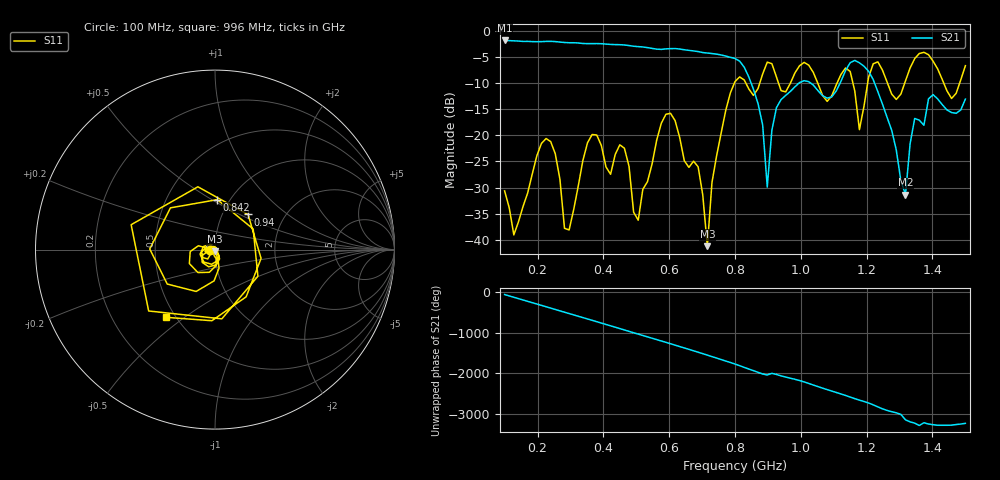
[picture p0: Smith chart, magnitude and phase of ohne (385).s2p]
! NanoVNA-App
! Date: 2025-09-25 14:23:47
! Start: 100MHz Stop: 1,5GHz Points: 101
! S-Parameter data: F S11 S21 S12 S22
# Hz S RI R 50
!  Frequency  S11_Real  S11_Imag  S21_Real  S21_Imag  S12_Real  S12_Imag  S22_Real  S22_Imag
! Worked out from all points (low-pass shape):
!   101 points, 100 MHz to 1.5 GHz, reference 50 ohm
!   highest |S21| = -1.79 dB at 100 MHz (marker M1); lowest = -31.4 dB at 1.318 GHz (marker M2)
!   |S21| within 3 dB of the highest: start of sweep to 771.8 MHz
!   lowest |S11| = -41.2 dB at 716 MHz (marker M3), VSWR 1.02, Z = 49.8 - j0.84 ohm
!   |S11| at or under -10 dB: start of sweep to 797.9 MHz; 833.1 MHz to 875.1 MHz (41.96 MHz wide, 4.91 % of centre); 1.052 GHz to 1.11 GHz (58.24 MHz wide, 5.39 % of centre) (the widest 3 of 7)
!   S12 and S22 are empty: the file has one direction only
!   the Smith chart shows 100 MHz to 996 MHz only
!   S11 on the Smith chart (normalised r, x): 100 MHz: 0.94, -0.01; 842 MHz: 0.88, +0.53; 940 MHz: 1.32, +0.56; 996 MHz: 0.45, -0.43
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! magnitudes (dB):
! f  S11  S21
! 100 MHz  -30.6  -1.8
! 128 MHz  -39.1  -1.9
! 226 MHz  -20.6  -2.0
! 296 MHz  -38.1  -2.2
! 338 MHz  -24.8  -2.4
! 464 MHz  -22.5  -2.7
! 506 MHz  -36.3  -3.0
! 576 MHz  -17.7  -3.5
! 688 MHz  -26.0  -3.9
! 716 MHz  -41.2  -4.2
! 800 MHz  -9.7  -5.2
! 842 MHz  -11.1  -8.8
! 898 MHz  -6.0  -29.9
! 940 MHz  -11.4  -13.1
! 996 MHz  -6.7  -9.9
! 1.038 GHz  -7.9  -10.4
! 1.178 GHz  -18.9  -6.1
! 1.22 GHz  -6.3  -9.3
! 1.276 GHz  -12.1  -19.0
! 1.318 GHz  -9.5  -31.4
! 1.346 GHz  -5.3  -16.7
! 1.5 GHz  -6.6  -13.0
